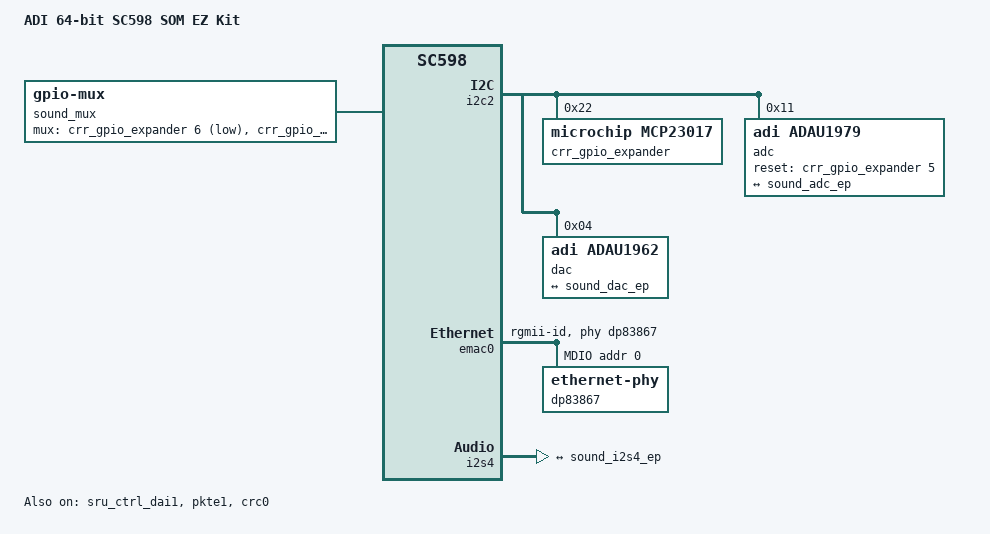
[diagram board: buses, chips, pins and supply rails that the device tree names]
// SPDX-License-Identifier: GPL-2.0
/*
 * Copyright (c) 2021 Analog Devices Incorporated
 * Author: Nathan Barrett-Morrison <nathan.morrison@timesys.com>
 */

/dts-v1/;

#include "sc598-som-revE.dtsi"

/ {
	model = "ADI 64-bit SC598 SOM EZ Kit";
	compatible = "adi,sc598-som-ezkit", "adi,sc59x-64";

	sound_mux: dac-mux-controller {
		compatible = "gpio-mux";
		#mux-state-cells = <1>;
		mux-gpios = <&crr_gpio_expander 6 GPIO_ACTIVE_LOW>, /* DAC enable */
			    <&crr_gpio_expander 7 GPIO_ACTIVE_LOW>; /* ADC enable */
		idle-state = <0>;
	};

	pinmux-sound {
		compatible = "pinctrl-multiplexer";

		dac_en_state: dac-grp {
			mux-states = <&sound_mux 1>;
		};

		adc_en_state: adc-grp {
			mux-states = <&sound_mux 2>;
		};

		adc_dac_en_state: adc-dac-grp {
			mux-states = <&sound_mux 3>;
		};
	};

	sound {
		compatible = "audio-graph-card2";
		/* links = <&sound_i2s4>; */
		links = <&i2s4_port>;
		widgets = "Headphone", "Headphones",
			  "Line", "DAC1",
			  "Line", "DAC2",
			  "Line", "DAC3",
			  "Line", "DAC4",
			  "Line", "DAC5",
			  "Line", "DAC6",
			  "Line", "DAC7",
			  "Line", "DAC8",
			  "Line", "DAC9",
			  "Line", "DAC10",
			  "Line", "DAC11",
			  "Line", "DAC12",
			  "Line", "AN1",
			  "Line", "AN2",
			  "Line", "AN3",
			  "Line", "AN4";
		routing = "Headphones", "DAC AOUT1",
			  "Headphones", "DAC AOUT2",
			  "DAC1", "DAC AOUT1",
			  "DAC2", "DAC AOUT2",
			  "DAC3", "DAC AOUT3",
			  "DAC4", "DAC AOUT4",
			  "DAC5", "DAC AOUT5",
			  "DAC6", "DAC AOUT6",
			  "DAC7", "DAC AOUT7",
			  "DAC8", "DAC AOUT8",
			  "DAC9", "DAC AOUT9",
			  "DAC10", "DAC AOUT10",
			  "DAC11", "DAC AOUT11",
			  "DAC12", "DAC AOUT12",
			  "ADC AIN1", "AN1",
			  "ADC AIN2", "AN2",
			  "ADC AIN3", "AN3",
			  "ADC AIN4", "AN4";

		multi {
			#address-cells = <1>;
			#size-cells = <0>;

			ports@0 {
				reg = <0>;
				#address-cells = <1>;
				#size-cells = <0>;
				dai-format = "dsp_a";
				dai-tdm-slot-num = <8>;
				dai-tdm-slot-width = <32>;

				sound_i2s4: port@0 {
					reg = <0>;

					sound_i2s4_ep: endpoint {
						remote-endpoint = <&i2s4_ep>;
					};
				};

				port@1 {
					reg = <1>;

					sound_adc_ep: endpoint {
						remote-endpoint = <&adc_ep>;
						system-clock-frequency = <24576000>; /* ADAU1962 MCLKO */
						frame-master;
						bitclock-master;
					};
				};

				port@2 {
					reg = <2>;

					sound_dac_ep: endpoint {
						remote-endpoint = <&dac_ep>;
						clocks = <&audio_clk>;
						frame-master;
						bitclock-master;
					};
				};
			};
		};
	};
};

&gpa {
	gpio-line-names =
		"", "", "", "", "", "", "", "",
		"", "", "", "", "", "boot-trace";
};

&ospi {
	pinctrl-names = "default";
	pinctrl-0 = <&ospi_default>;

	status = "disabled";

	flash@0 {
		compatible = "mxicy,mx66lm1g45", "jedec,spi-nor";
		reg = <0>;
		spi-max-frequency = <83333334>;
		spi-tx-bus-width = <8>;
		spi-rx-bus-width = <8>;

		cdns,read-delay = <4>;
		cdns,tshsl-ns = <50>;
		cdns,tsd2d-ns = <50>;
		cdns,tchsh-ns = <4>;
		cdns,tslch-ns = <4>;

		partitions {
			compatible = "fixed-partitions";
			#address-cells = <1>;
			#size-cells = <1>;

			ospi_0: partition@0 {
				label = "u-boot-spl";
				reg = <0x0 0x40000>;
			};

			ospi_1: partition@40000 {
				label = "u-boot";
				reg = <0x40000 0xc0000>;
			};

			ospi_2: partition@100000 {
				label = "kernel";
				reg = <0x100000 0xf00000>;
			};

			ospi_3: partition@1000000 {
				label = "rootfs";
				reg = <0x1000000 0x1000000>;
			};
		};
	};
};

&i2c2 {
	crr_gpio_expander: gpio@22 {
		compatible = "microchip,mcp23017";
		gpio-controller;
		#gpio-cells = <2>;
		reg = <0x22>;
		status = "okay";

		eeprom {
			gpio-hog;
			gpios = <0 GPIO_ACTIVE_LOW>;
			output-low;
			line-name = "eeprom-en";
		};

		pushbutton {
			gpio-hog;
			gpios = <1 GPIO_ACTIVE_LOW>;
			output-high;
			line-name = "pushbutton-en";
		};

		microsd {
			gpio-hog;
			gpios = <2 GPIO_ACTIVE_LOW>;
			output-low;
			line-name = "microsd-spi";
		};

		ftdi {
			gpio-hog;
			gpios = <3 GPIO_ACTIVE_LOW>;
			output-high;
			line-name = "ftdi-usb-en";
		};

		can {
			gpio-hog;
			gpios = <4 GPIO_ACTIVE_LOW>;
			output-low;
			line-name = "can-en";
		};

		octal {
			gpio-hog;
			gpios = <8 GPIO_ACTIVE_LOW>;
			output-low;
			line-name = "octal-spi-cs-en";
		};

		spdif-dig {
			gpio-hog;
			gpios = <9 GPIO_ACTIVE_LOW>;
			output-low;
			line-name = "spdif-digital-en";
		};

		spdif-opt {
			gpio-hog;
			gpios = <10 GPIO_ACTIVE_LOW>;
			output-low;
			line-name = "spdif-optical-en";
		};

		mlb {
			gpio-hog;
			gpios = <12 GPIO_ACTIVE_LOW>;
			output-low;
			line-name = "mlb-en";
		};

		eth1 {
			gpio-hog;
			gpios = <13 GPIO_ACTIVE_LOW>;
			output-high;
			line-name = "eth1-en";
		};

		eth1-reset {
			gpio-hog;
			gpios = <14 GPIO_ACTIVE_LOW>;
			/* USB0 lines are shared with Eth1 so Eth PHY must be held in reset
			 * when using the USB
			 */
			output-high;
			line-name = "eth1-reset";
		};

		gige-reset {
			gpio-hog;
			gpios = <15 GPIO_ACTIVE_LOW>;
			output-low;
			line-name = "gige-reset";
		};
	};

	adc: audio-codec@11 {
		compatible = "adi,adau1979";
		reg = <0x11>;
		pinctrl-names = "default";
		pinctrl-0 = <&adc_dac_en_state>;
		reset-gpios = <&crr_gpio_expander 5 GPIO_ACTIVE_HIGH>;
		sound-name-prefix = "ADC";

		port {
			adc_ep: endpoint {
				remote-endpoint = <&sound_adc_ep>;
			};
		};
	};

	dac: audio-codec@4 {
		compatible = "adi,adau1962";
		reg = <0x4>;
		pinctrl-names = "default";
		/* pinctrl-0 = <&adc_dac_en_state>; */
		/* reset-gpios = <&crr_gpio_expander 5 GPIO_ACTIVE_LOW>; */
		sound-name-prefix = "DAC";

		port {
			dac_ep: endpoint {
				remote-endpoint = <&sound_dac_ep>;
			};
		};
	};
};

&emac0 {
	snps,reset-active-low;
	snps,reset-delays-us = <0 200 500>;
	phy-handle = <&dp83867>;
	phy-mode = "rgmii-id";
	pinctrl-names = "default";
	pinctrl-0 = <&eth0_default>;
	status = "okay";
	snps,mtl-rx-config = <&emac0rxconfig>;
	snps,mtl-tx-config = <&emac0txconfig>;

	emac0txconfig: tx-config {
		snps,tx-queues-to-use = <3>;

		queue0 {
			snps,dcb-algorithm;
		};

		queue1 {
			snps,dcb-algorithm;
		};

		queue2 {
			snps,dcb-algorithm;
		};
	};

	emac0rxconfig: rx-config {
		snps,rx-queues-to-use = <1>;

		queue0 {
			snps,dcb-algorithm;
		};

		queue1 {
			snps,dcb-algorithm;
		};

		queue2 {
			snps,dcb-algorithm;
		};
	};

	mdio {
		compatible = "snps,dwmac-mdio";
		#address-cells = <1>;
		#size-cells = <0>;
		dp83867: ethernet-phy@0 {
			reg = <0>;
			ti,rx-internal-delay = <DP83867_RGMIIDCTL_2_00_NS>;
			ti,tx-internal-delay = <DP83867_RGMIIDCTL_2_00_NS>;
			ti,fifo-depth = <DP83867_PHYCR_FIFO_DEPTH_8_B_NIB>;
			ti,dp83867-rxctrl-strap-quirk;
		};
	};
};

//&emac1 {
//	phy-handle = <&dp83848>;
//	phy-mode = "rmii";
//	pinctrl-names = "default";
//	pinctrl-0 = <&eth1_default>;
//	status = "disabled";//

//	mdio1 {
//		compatible = "snps,dwmac-mdio";
//		#address-cells = <1>;
//		#size-cells = <0>;
//		dp83848: ethernet-phy@1 {
//			reg = <1>;
//		};
//	};//

//};

&i2s4 {
	pinctrl-names = "default";
	pinctrl-0 = <&sru_dai1>;
	status = "okay";

	i2s4_port: port { /* TODO: need this label? */
		i2s4_ep: endpoint {
			remote-endpoint = <&sound_i2s4_ep>;
		};
	};
};

&sru_ctrl_dai1 {
	status = "okay";

	sru_dai1: sru_dai1_mux {
		route {
			sru-routing =
				<DAI1_LOW_F          DAI1_PBEN05_I>,  /* set DAI1_PIN0B to input */
				<DAI1_PB05_O_ABCDE   SPT4_ACLK_I>,    /* route DAI1_PIN0B to SPT4_ACLK */
				<DAI1_LOW_F          DAI1_PBEN04_I>,  /* set DAI1_PIN04 to input */
				<DAI1_PB04_O_ABCDE   SPT4_AFS_I>,     /* route DAI1_PIN04 to SPT4_AFS */
				<DAI1_HIGH_F         DAI1_PBEN01_I>,  /* set DAI1_PIN01 to output */
				<SPT4_AD0_O_BD       DAI1_PB01_I>,    /* route SPT4_AD0 to DAI1_PIN01 */
				<DAI1_LOW_F          DAI1_PBEN12_I>,  /* set DAI1_PIN12 to input */
				<DAI1_PB12_O_ABCDE   SPT4_BCLK_I>,    /* route DAI1_PIN12 to SPT4_BCLK */
				<DAI1_LOW_F          DAI1_PBEN20_I>,  /* set DAI1_PIN20 to input */
				<DAI1_PB20_O_ABCDE   SPT4_BFS_I>,     /* route DAI1_PIN20 to SPT4_BFS */
				<DAI1_LOW_F          DAI1_PBEN06_I>,  /* set DAI1_PIN06 to input */
				<DAI1_PB06_O_ABCDE   SPT4_BD0_I>;     /* route DAI1_PIN06 to SPT4_BD0 */
		};
	};
};

&pkte1 {
	status = "okay";
	mode = "arm";        /* autonomous ring mode */
	/* mode = "tcm"; */  /* target command mode  */
	/* mode = "dhm"; */  /* direct host mode     */
};

&crc0 {
	status = "okay";
};
